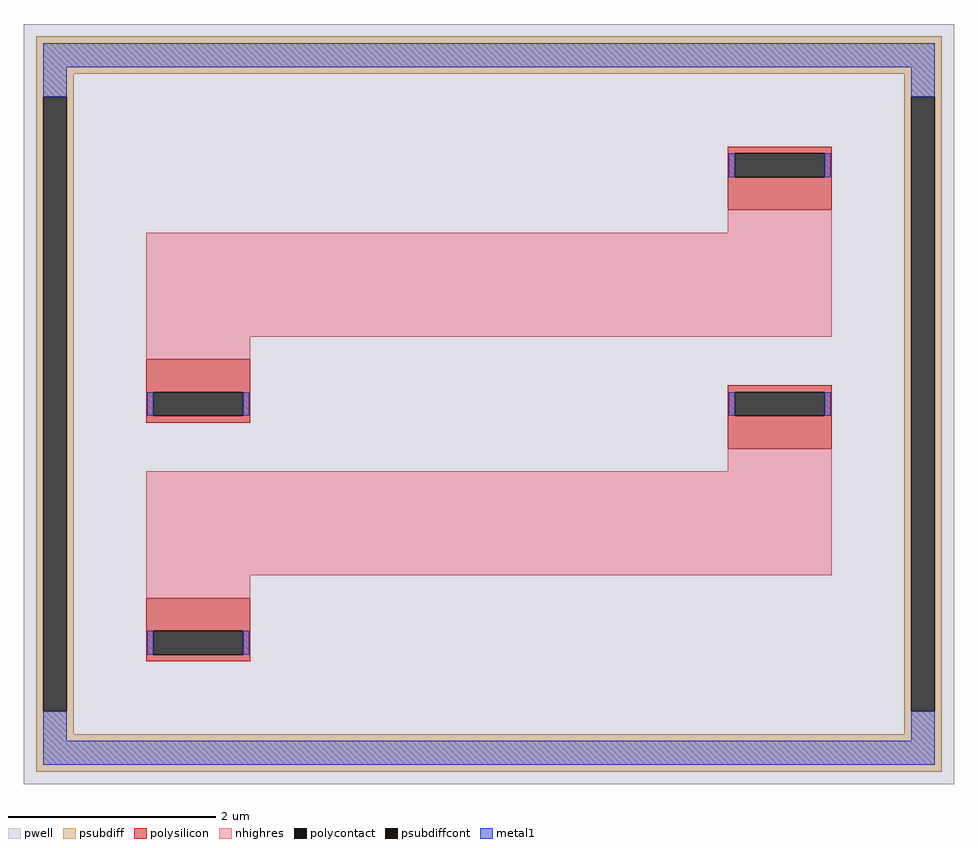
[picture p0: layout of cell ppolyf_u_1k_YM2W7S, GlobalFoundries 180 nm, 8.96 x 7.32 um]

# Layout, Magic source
magic
tech gf180mcuD
magscale 1 10
<< pwell >>
rect -896 -732 896 732
<< psubdiff >>
rect -872 636 872 708
rect -872 592 -800 636
rect -872 -592 -859 592
rect -813 -592 -800 592
rect 800 592 872 636
rect -872 -636 -800 -592
rect 800 -592 813 592
rect 859 -592 872 592
rect 800 -636 872 -592
rect -872 -708 872 -636
<< psubdiffcont >>
rect -859 -592 -813 592
rect 813 -592 859 592
<< polysilicon >>
rect 460 483 660 496
rect 460 437 473 483
rect 647 437 660 483
rect 460 374 660 437
rect -660 23 -460 86
rect -660 -23 -647 23
rect -473 -23 -460 23
rect -660 -36 -460 -23
rect 460 23 660 36
rect 460 -23 473 23
rect 647 -23 660 23
rect 460 -86 660 -23
rect -660 -437 -460 -374
rect -660 -483 -647 -437
rect -473 -483 -460 -437
rect -660 -496 -460 -483
<< polycontact >>
rect 473 437 647 483
rect -647 -23 -473 23
rect 473 -23 647 23
rect -647 -483 -473 -437
<< nhighres >>
rect 460 330 660 374
rect -660 130 660 330
rect -660 86 -460 130
rect 460 -130 660 -86
rect -660 -330 660 -130
rect -660 -374 -460 -330
<< metal1 >>
rect -859 649 859 695
rect -859 592 -813 649
rect 813 592 859 649
rect 462 437 473 483
rect 647 437 658 483
rect -658 -23 -647 23
rect -473 -23 -462 23
rect 462 -23 473 23
rect 647 -23 658 23
rect -658 -483 -647 -437
rect -473 -483 -462 -437
rect -859 -649 -813 -592
rect 813 -649 859 -592
rect -859 -695 859 -649
<< properties >>
string FIXED_BBOX -836 -672 836 672
string gencell ppolyf_u_1k
string library gf180mcu
string parameters w 1.0 l 1.000 m 2 nx 5 wmin 1.000 lmin 1.000 class resistor rho 1000 val 10.6k dummy 0 dw 0.0 term 0.0 sterm 0.0 caplen 0.4 snake 1 glc 1 grc 1 gtc 0 gbc 0 roverlap 1 endcov 100 full_metal 1 compatible {ppolyf_u_1k ppolyf_u_1k_6p0}
<< end >>
